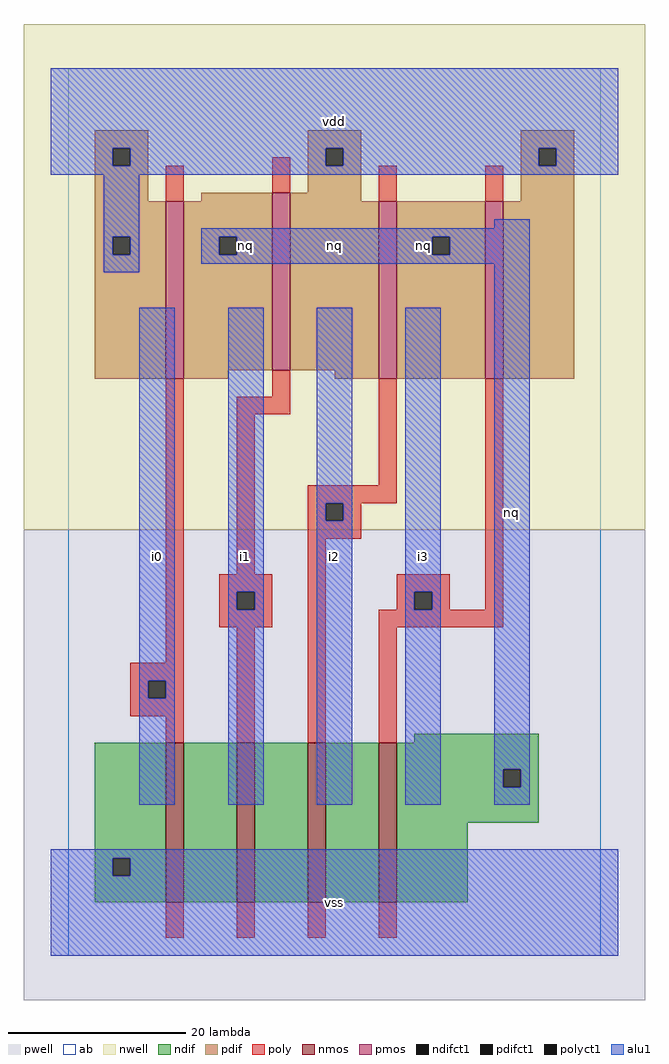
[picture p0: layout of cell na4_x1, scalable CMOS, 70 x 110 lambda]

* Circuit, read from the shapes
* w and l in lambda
.subckt na4_x1 i0 i1 i2 i3 nq vdd vss
M1 n1 i0 vss VSUBS nfet w=18 l=2
M2 n2 i1 n1 VSUBS nfet w=18 l=2
M3 n3 i2 n2 VSUBS nfet w=18 l=2
M4 nq i3 n3 VSUBS nfet w=18 l=2
M5 nq i0 vdd n4 pfet w=20 l=2
M6 vdd i1 nq n4 pfet w=20 l=2
M7 nq i2 vdd n4 pfet w=20 l=2
M8 vdd i3 nq n4 pfet w=20 l=2
.ends

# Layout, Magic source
magic
tech scmos
<< ab >>
rect 0 0 60 100
<< nwell >>
rect -5 48 65 105
<< pwell >>
rect -5 -5 65 48
<< poly >>
rect 11 85 13 89
rect 23 86 25 90
rect 35 85 37 89
rect 47 85 49 89
rect 11 33 13 65
rect 23 63 25 66
rect 19 61 25 63
rect 19 43 21 61
rect 35 53 37 65
rect 27 51 37 53
rect 27 49 29 51
rect 31 49 33 51
rect 27 47 33 49
rect 17 41 23 43
rect 17 39 19 41
rect 21 39 23 41
rect 17 37 23 39
rect 7 31 13 33
rect 7 29 9 31
rect 11 29 13 31
rect 7 27 13 29
rect 11 24 13 27
rect 19 24 21 37
rect 27 24 29 47
rect 37 41 43 43
rect 37 39 39 41
rect 41 39 43 41
rect 47 39 49 65
rect 35 37 49 39
rect 35 24 37 37
rect 11 2 13 6
rect 19 2 21 6
rect 27 2 29 6
rect 35 2 37 6
<< ndif >>
rect 39 24 53 25
rect 3 11 11 24
rect 3 9 5 11
rect 7 9 11 11
rect 3 6 11 9
rect 13 6 19 24
rect 21 6 27 24
rect 29 6 35 24
rect 37 21 53 24
rect 37 19 49 21
rect 51 19 53 21
rect 37 15 53 19
rect 37 6 45 15
<< pdif >>
rect 3 91 9 93
rect 3 89 5 91
rect 7 89 9 91
rect 27 91 33 93
rect 3 85 9 89
rect 27 89 29 91
rect 31 89 33 91
rect 51 91 57 93
rect 51 89 53 91
rect 55 89 57 91
rect 27 86 33 89
rect 15 85 23 86
rect 3 81 11 85
rect 3 79 5 81
rect 7 79 11 81
rect 3 65 11 79
rect 13 81 23 85
rect 13 79 17 81
rect 19 79 23 81
rect 13 66 23 79
rect 25 85 33 86
rect 51 85 57 89
rect 25 66 35 85
rect 13 65 18 66
rect 30 65 35 66
rect 37 81 47 85
rect 37 79 41 81
rect 43 79 47 81
rect 37 65 47 79
rect 49 65 57 85
<< alu1 >>
rect -2 91 62 100
rect -2 89 5 91
rect 7 89 29 91
rect 31 89 53 91
rect 55 89 62 91
rect -2 88 62 89
rect 4 81 8 88
rect 48 82 52 83
rect 4 79 5 81
rect 7 79 8 81
rect 4 77 8 79
rect 15 81 52 82
rect 15 79 17 81
rect 19 79 41 81
rect 43 79 52 81
rect 15 78 52 79
rect 8 31 12 73
rect 8 29 9 31
rect 11 29 12 31
rect 8 17 12 29
rect 18 41 22 73
rect 18 39 19 41
rect 21 39 22 41
rect 18 17 22 39
rect 28 51 32 73
rect 28 49 29 51
rect 31 49 32 51
rect 28 17 32 49
rect 38 41 42 73
rect 38 39 39 41
rect 41 39 42 41
rect 38 17 42 39
rect 48 21 52 78
rect 48 19 49 21
rect 51 19 52 21
rect 48 17 52 19
rect -2 11 62 12
rect -2 9 5 11
rect 7 9 62 11
rect -2 0 62 9
<< nmos >>
rect 11 6 13 24
rect 19 6 21 24
rect 27 6 29 24
rect 35 6 37 24
<< pmos >>
rect 11 65 13 85
rect 23 66 25 86
rect 35 65 37 85
rect 47 65 49 85
<< polyct1 >>
rect 29 49 31 51
rect 19 39 21 41
rect 9 29 11 31
rect 39 39 41 41
<< ndifct1 >>
rect 5 9 7 11
rect 49 19 51 21
<< pdifct1 >>
rect 5 89 7 91
rect 29 89 31 91
rect 53 89 55 91
rect 5 79 7 81
rect 17 79 19 81
rect 41 79 43 81
<< labels >>
rlabel alu1 10 45 10 45 6 i0
rlabel alu1 20 45 20 45 6 i1
rlabel alu1 20 80 20 80 6 nq
rlabel alu1 30 6 30 6 6 vss
rlabel alu1 30 45 30 45 6 i2
rlabel alu1 40 45 40 45 6 i3
rlabel alu1 30 80 30 80 6 nq
rlabel alu1 30 94 30 94 6 vdd
rlabel alu1 40 80 40 80 6 nq
rlabel alu1 50 50 50 50 6 nq
<< end >>
